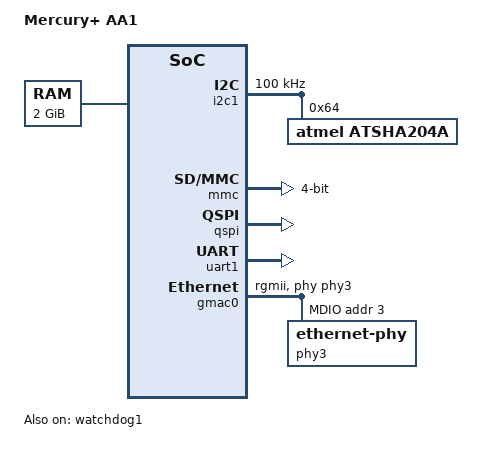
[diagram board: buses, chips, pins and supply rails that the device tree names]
/dts-v1/;

#include "socfpga_arria10.dtsi"

/ {
	model = "Mercury+ AA1";
	compatible = "altr,socfpga-arria10", "altr,socfpga";

	aliases {
		serial0 = &uart1;
	};

	chosen {
		bootargs = "earlyprintk";
		stdout-path = "serial0:115200n8";
	};

	memory@0 {
		name = "memory";
		device_type = "memory";
		reg = <0x0 0x80000000>; /* 2GB */
	};
};

&osc1 {
	clock-frequency = <33000000>;
};

&i2c1 {
	status = "okay";
	clock-frequency = <100000>;

	atsha204a: atsha204a@64 {
		status = "okay";
		compatible = "atmel,atsha204a";
		reg = <0x64>;
	};
};

&mmc {
	status = "okay";
	broken-cd;
	bus-width = <4>;
	cap-sd-highspeed;
	max-frequency = <24000000>;
};

&qspi {
	status = "okay";
};

&uart1 {
	status = "okay";
};

&watchdog1 {
	status = "okay";
};

&gmac0 {
	status = "okay";
	/delete-property/ mac-address;
	phy-mode = "rgmii";
	phy-addr = <3>;
	phy-handle = <&phy3>;

	mdio0 {
		#address-cells = <1>;
		#size-cells = <0>;
		compatible = "snps,dwmac-mdio";

		phy3: ethernet-phy@3 {
			reg = <3>;
			rxd0-skew-ps = <420>;
			rxd1-skew-ps = <420>;
			rxd2-skew-ps = <420>;
			rxd3-skew-ps = <420>;
			rxdv-skew-ps = <420>;

			txd0-skew-ps = <420>;
			txd1-skew-ps = <420>;
			txd2-skew-ps = <420>;
			txd3-skew-ps = <420>;
			txen-skew-ps = <420>;

			rxc-skew-ps = <1680>;
			txc-skew-ps = <900>;
		};
	};
};

